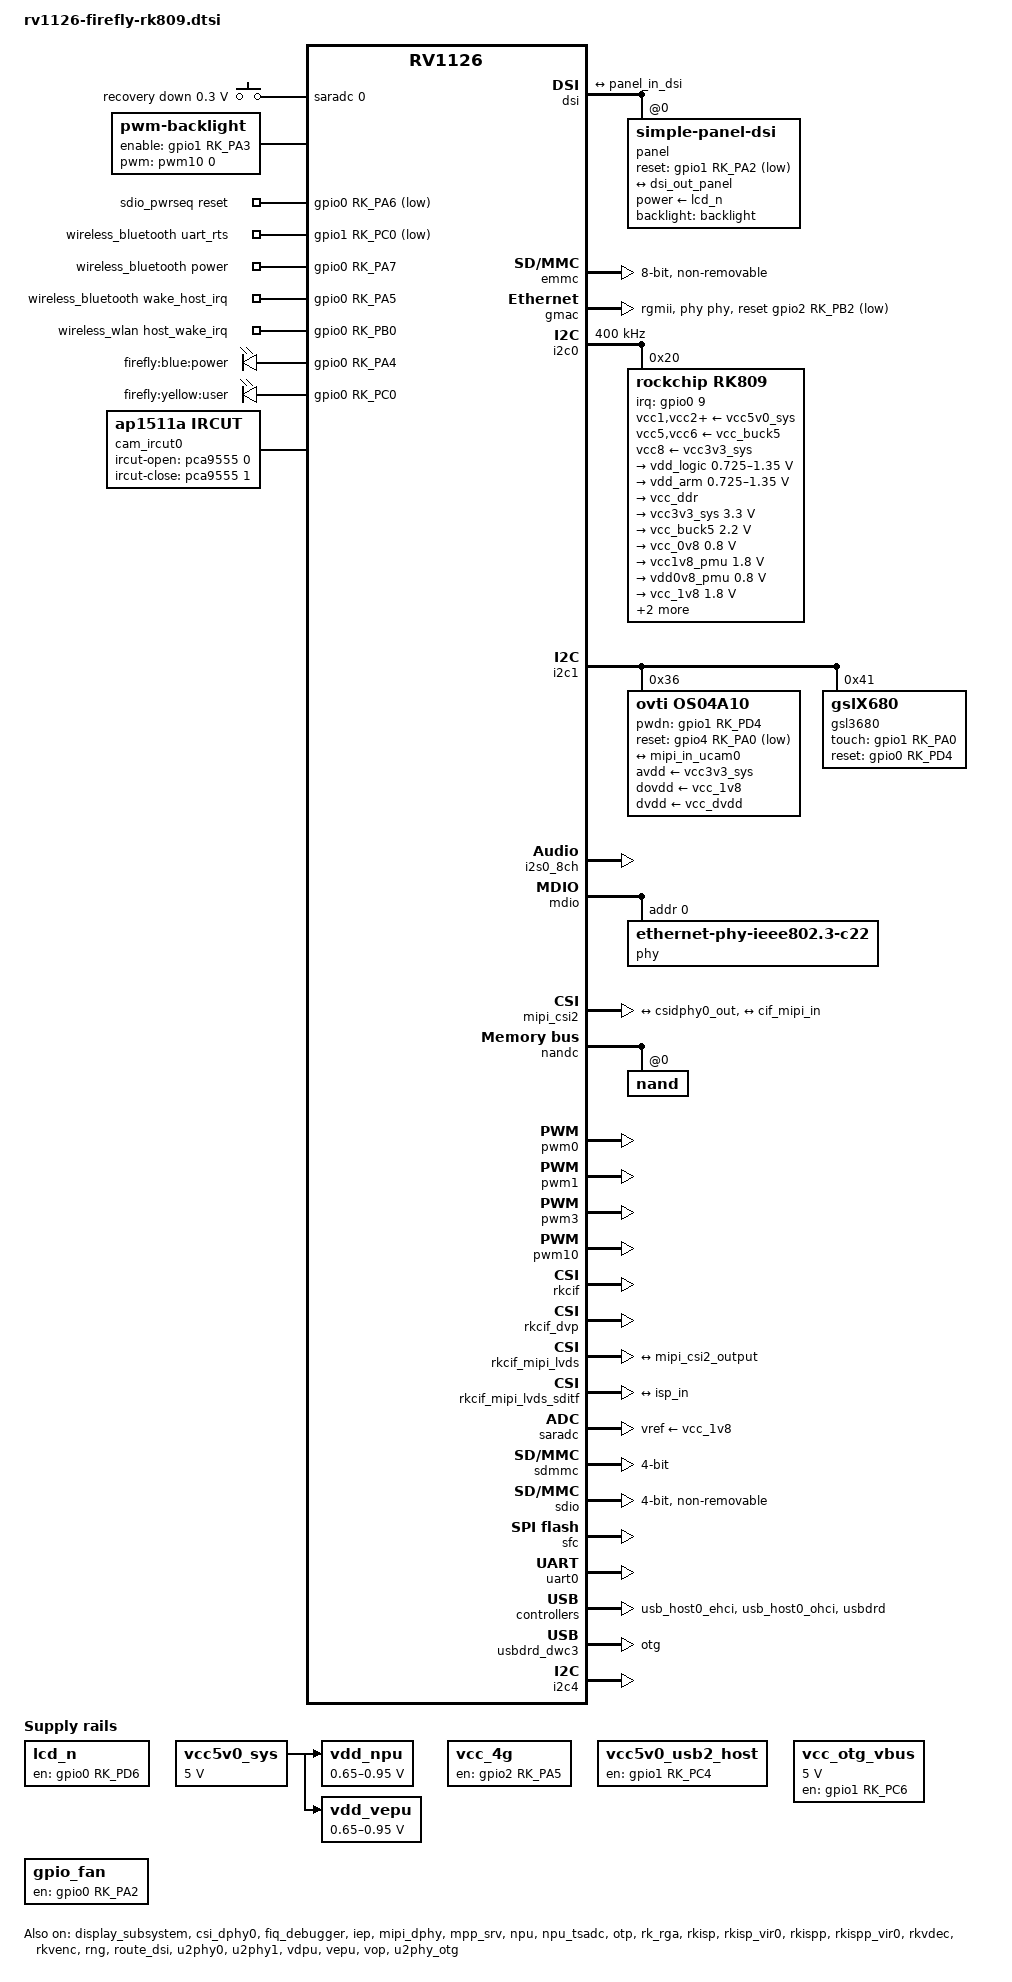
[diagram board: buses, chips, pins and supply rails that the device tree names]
// SPDX-License-Identifier: (GPL-2.0+ OR MIT)
/*
 * Copyright (c) 2019 Fuzhou Rockchip Electronics Co., Ltd.
 */

#include <dt-bindings/display/drm_mipi_dsi.h>
#include <dt-bindings/input/input.h>
#include "rv1126.dtsi"
#include <dt-bindings/display/media-bus-format.h>

/ {
	adc_keys: adc-keys {
		status = "okay";
		compatible = "adc-keys";
		io-channels = <&saradc 0>;
		io-channel-names = "buttons";
		poll-interval = <100>;
		keyup-threshold-microvolt = <1800000>;

		recovery {
                        label = "recovery down";
			linux,code = <KEY_KP9>;
                        press-threshold-microvolt = <300000>;
                };
	};
	
	lcd_n: lcd-n {
                compatible = "regulator-fixed";
                gpio = <&gpio0 RK_PD6 GPIO_ACTIVE_HIGH>;
                pinctrl-0 = <&lcd_ctl>;
                pinctrl-names = "default";
                regulator-name = "lcd_n";
                enable-active-high;
                regulator-always-on;
        };

        backlight: backlight {
                status = "okay";
                compatible = "pwm-backlight";
                enable-gpios = <&gpio1 RK_PA3 GPIO_ACTIVE_HIGH>;
                pinctrl-0 = <&bl_ctl>;
                pinctrl-names = "default";
                pwms = <&pwm10 0 50000 1>;
                polarity = <1>;
                brightness-levels = <
                          0   1   2   3   4   5   6   7
                          8   9  10  11  12  13  14  15
                         16  17  18  19  20  21  22  23
                         24  25  26  27  28  29  30  31
                         32  33  34  35  36  37  38  39
                         40  41  42  43  44  45  46  47
                         48  49  50  51  52  53  54  55
                         56  57  58  59  60  61  62  63
                         64  65  66  67  68  69  70  71
                         72  73  74  75  76  77  78  79
                         80  81  82  83  84  85  86  87
                         88  89  90  91  92  93  94  95
                         96  97  98  99 100 101 102 103
                        104 105 106 107 108 109 110 111
                        112 113 114 115 116 117 118 119
                        120 121 122 123 124 125 126 127
                        128 129 130 131 132 133 134 135
                        136 137 138 139 140 141 142 143
                        144 145 146 147 148 149 150 151
                        152 153 154 155 156 157 158 159
                        160 161 162 163 164 165 166 167
                        168 169 170 171 172 173 174 175
                        176 177 178 179 180 181 182 183
                        184 185 186 187 188 189 190 191
                        192 193 194 195 196 197 198 199
                        200 201 202 203 204 205 206 207
                        208 209 210 211 212 213 214 215
                        216 217 218 219 220 221 222 223
                        224 225 226 227 228 229 230 231
                        232 233 234 235 236 237 238 239
                        240 241 242 243 244 245 246 247
                        248 249 250 251 252 253 254 255>;
                default-brightness-level = <200>;
        };

	rk809_sound: rk809-sound {
		compatible = "simple-audio-card";
		simple-audio-card,format = "i2s";
		simple-audio-card,name = "rockchip,rk809-codec";
		simple-audio-card,mclk-fs = <256>;
		simple-audio-card,widgets =
			"Microphone", "Mic Jack",
			"Headphone", "Headphone Jack";
		simple-audio-card,routing =
			"Mic Jack", "MICBIAS1",
			"IN1P", "Mic Jack",
			"Headphone Jack", "HPOL",
			"Headphone Jack", "HPOR";
		simple-audio-card,cpu {
			sound-dai = <&i2s0_8ch>;
		};
		simple-audio-card,codec {
			sound-dai = <&rk809_codec>;
		};
	};

	sdio_pwrseq: sdio-pwrseq {
		compatible = "mmc-pwrseq-simple";
		pinctrl-names = "default";
		pinctrl-0 = <&wifi_enable_h>;

		/*
		 * On the module itself this is one of these (depending
		 * on the actual card populated):
		 * - SDIO_RESET_L_WL_REG_ON
		 * - PDN (power down when low)
		 */
		reset-gpios = <&gpio0 RK_PA6 GPIO_ACTIVE_LOW>;
	};

	vcc5v0_sys: vccsys {
		compatible = "regulator-fixed";
		regulator-name = "vcc5v0_sys";
		regulator-always-on;
		regulator-boot-on;
		regulator-min-microvolt = <5000000>;
		regulator-max-microvolt = <5000000>;
	};

	vdd_npu: vdd-npu {
		compatible = "pwm-regulator";
		pwms = <&pwm0 0 5000 1>;
		regulator-name = "vdd_npu";
		regulator-min-microvolt = <650000>;
		regulator-max-microvolt = <950000>;
		regulator-init-microvolt = <800000>;
		regulator-always-on;
		regulator-boot-on;
		regulator-settling-time-up-us = <250>;
		pwm-supply = <&vcc5v0_sys>;
		status = "okay";
	};

	vdd_vepu: vdd-vepu {
		compatible = "pwm-regulator";
		pwms = <&pwm1 0 5000 1>;
		regulator-name = "vdd_vepu";
		regulator-min-microvolt = <650000>;
		regulator-max-microvolt = <950000>;
		regulator-init-microvolt = <800000>;
		regulator-always-on;
		regulator-boot-on;
		regulator-settling-time-up-us = <250>;
		pwm-supply = <&vcc5v0_sys>;
		status = "okay";
	};

	wireless_bluetooth: wireless-bluetooth {
		compatible = "bluetooth-platdata";
		uart_rts_gpios = <&gpio1 RK_PC0 GPIO_ACTIVE_LOW>;
		pinctrl-names = "default", "rts_gpio";
                pinctrl-0 = <&uart0_rtsn>;
                pinctrl-1 = <&uart0_rtsn_gpio>;
		BT,power_gpio    = <&gpio0 RK_PA7 GPIO_ACTIVE_HIGH>;
		BT,wake_host_irq = <&gpio0 RK_PA5 GPIO_ACTIVE_HIGH>;
		status = "okay";
	};

	wireless_wlan: wireless-wlan {
		compatible = "wlan-platdata";
		rockchip,grf = <&grf>;
		clocks = <&rk809 1>;
		clock-names = "clk_wifi";
		//pinctrl-names = "default";
		//pinctrl-0 = <&wifi_wake_host>;
		wifi_chip_type = "ap6236";
		//WIFI,poweren_gpio = <&gpio0 RK_PA6 GPIO_ACTIVE_HIGH>; 
		WIFI,host_wake_irq = <&gpio0 RK_PB0 GPIO_ACTIVE_HIGH>;
		status = "okay";
	};

	leds: leds {
        	compatible = "gpio-leds";
        	work {
        		label = "firefly:blue:power";
        		linux,default-trigger = "ir-power-click";
        		gpios = <&gpio0 RK_PA4 GPIO_ACTIVE_HIGH>;
        		pinctrl-names = "default";
        		pinctrl-0 = <&led_power>;
        		default-state = "on";
        	};

        	user {
        		label = "firefly:yellow:user";
        		linux,default-trigger = "ir-user-click";
        		gpios = <&gpio0 RK_PC0 GPIO_ACTIVE_HIGH>;
        		pinctrl-names = "default";
        		pinctrl-0 = <&led_user>;
        		default-state = "on";
		};
        };

        vcc_4g: vcc-4g { 
		compatible = "regulator-fixed";
                regulator-always-on;
                enable-active-high;
                gpio = <&gpio2 RK_PA5 GPIO_ACTIVE_HIGH>;
                pinctrl-names = "default";
                pinctrl-0 = <&vcc_4g_h>;
                regulator-name = "vcc_4g";

        };
        vcc5v0_usb2_host: vcc5v0-usb2-host-regulator {
		compatible = "regulator-fixed";
		enable-active-high;
		gpio = <&gpio1 RK_PC4 GPIO_ACTIVE_HIGH>;
		pinctrl-names = "default";
		pinctrl-0 = <&host_vbus_drv>;
		regulator-name = "vcc5v0_usb2_host";
		regulator-always-on;
	};
	vcc_otg_vbus: otg-vbus-regulator {
		compatible = "regulator-fixed";
		gpio = <&gpio1 RK_PC6 GPIO_ACTIVE_HIGH>;
		pinctrl-names = "default";
		pinctrl-0 = <&otg_vbus_drv>;
		regulator-name = "vcc_otg_vbus";
		regulator-min-microvolt = <5000000>;
		regulator-max-microvolt = <5000000>;
		enable-active-high;
		regulator-always-on;
	};
	gpio_fan: gpio-fan {
		compatible = "regulator-fixed";
                regulator-always-on;
                enable-active-high;
                gpio = <&gpio0 RK_PA2 GPIO_ACTIVE_HIGH>;
                pinctrl-names = "default";
                pinctrl-0 = <&fan_pins>;
                regulator-name = "gpio_fan";
        };
	cam_ircut0: cam_ircut {
		status = "okay";
		compatible = "ap1511a,ircut";
		ircut-open-gpios  = <&pca9555 0 GPIO_ACTIVE_HIGH>; //PWM9_M1  BIN
		ircut-close-gpios  = <&pca9555 1 GPIO_ACTIVE_HIGH>;//PWM8_M1  AIN

		rockchip,camera-module-index = <1>;
		rockchip,camera-module-facing = "front";
	};
};

&cpu0 {
	cpu-supply = <&vdd_arm>;
};

&cpu_tsadc {
	status = "okay";
};

&display_subsystem {
	status = "okay";
};

&dsi {

	status = "okay";

        rockchip,lane-rate = <500>;
        panel@0 {
                compatible = "simple-panel-dsi";

                reg = <0>;
                backlight = <&backlight>;
                power-supply = <&lcd_n>;
                reset-gpios = <&gpio1 RK_PA2 GPIO_ACTIVE_LOW>;

                dsi,flags = <(MIPI_DSI_MODE_VIDEO_BURST | MIPI_DSI_MODE_VIDEO |
                                MIPI_DSI_MODE_LPM )>;
                dsi,format = <MIPI_DSI_FMT_RGB888>;
                bus-format = <MEDIA_BUS_FMT_RGB666_1X18>;
                dsi,lanes = <4>;

                prepare-delay-ms = <120>;
                reset-delay-ms = <120>;
                init-delay-ms = <120>;
                enable-delay-ms = <120>;
                unprepare-delay-ms = <120>;
                disable-delay-ms = <120>;

                size,width = <120>;
                size,height = <170>;

		width-mm = <135>;
                height-mm = <217>;

                status = "okay";

		panel-init-sequence = [
                        15 00 02 E0 00
                                15 00 02 E1 93
                                15 00 02 E2 65
                                15 00 02 E3 F8

                                15 00 02 E0 04
                                15 00 02 2D 03

                                15 00 02 E0 00
                                15 00 02 80 03


                                15 00 02 E0 01
                                15 00 02 00 00

                                15 00 02 E0 01
                                15 00 02 4B 04

                                15 00 02 00 00
                                15 00 02 01 66

                                15 00 02 17 00

                                15 00 02 18 AF
                                15 00 02 19 01
                                15 00 02 1A 00
                                15 00 02 1B AF

                                15 00 02 1C 01
                                15 00 02 1F 3E

                                15 00 02 20 28
                                15 00 02 21 28
                                15 00 02 22 7E
                                15 00 02 35 05

                                15 00 02 37 09

                                15 00 02 38 04
                                15 00 02 39 00
                                15 00 02 3A 01
                                15 00 02 3C 76
                                15 00 02 3D FF
                                15 00 02 3E FF
                                15 00 02 3F 7F

                                15 00 02 40 06
                                15 00 02 41 A0
                                15 00 02 42 81
                                15 00 02 43 08
                                15 00 02 44 0B
				15 00 02 45 28

                                15 00 02 55 0F
                                15 00 02 56 01
                                15 00 02 57 69
                                15 00 02 58 0A
                                15 00 02 59 0A
                                15 00 02 5A 29
                                15 00 02 5B 15

                                15 00 02 5D 7C
                                15 00 02 5E 66
                                15 00 02 5F 57
                                15 00 02 60 4A
                                15 00 02 61 46
                                15 00 02 62 36
                                15 00 02 63 3A
                                15 00 02 64 23
                                15 00 02 65 3A
                                15 00 02 66 38
                                15 00 02 67 38
                                15 00 02 68 55
                                15 00 02 69 43
                                15 00 02 6A 4A
                                15 00 02 6B 3B
                                15 00 02 6C 36
                                15 00 02 6D 28
                                15 00 02 6E 15
                                15 00 02 6F 00
                                15 00 02 70 7C
                                15 00 02 71 66
                                15 00 02 72 57
                                15 00 02 73 4A
                                15 00 02 74 46

                                15 00 02 75 36
                                15 00 02 76 3A
                                15 00 02 77 23
                                15 00 02 78 3A
                                15 00 02 79 38
                                15 00 02 7A 38
                                15 00 02 7B 55
                                15 00 02 7C 43
                                15 00 02 7D 4A
                                15 00 02 7E 3B
                                15 00 02 7F 36
                                15 00 02 80 28
                                15 00 02 81 15
                                15 00 02 82 00

                                15 00 02 E0 02
				
                                15 00 02 00 1E
                                15 00 02 01 1E
                                15 00 02 02 41
                                15 00 02 03 41
                                15 00 02 04 43
                                15 00 02 05 43
                                15 00 02 06 1F
                                15 00 02 07 1F
                                15 00 02 08 35
                                15 00 02 09 1F
                                15 00 02 0A 15
                                15 00 02 0B 15
                                15 00 02 0C 1F
                                15 00 02 0D 47
                                15 00 02 0E 47
                                15 00 02 0F 45
                                15 00 02 10 45
                                15 00 02 11 4B
                                15 00 02 12 4B
                                15 00 02 13 49
                                15 00 02 14 49
                                15 00 02 15 1F

                                15 00 02 16 1E
                                15 00 02 17 1E
                                15 00 02 18 40
                                15 00 02 19 40
                                15 00 02 1A 42
                                15 00 02 1B 42
                                15 00 02 1C 1F
                                15 00 02 1D 1F
                                15 00 02 1E 35
                                15 00 02 1F 1F
                                15 00 02 20 15
                                15 00 02 21 15
                                15 00 02 22 1F
                                15 00 02 23 46
                                15 00 02 24 46
                                15 00 02 25 44
                                15 00 02 26 44
                                15 00 02 27 4A
                                15 00 02 28 4A
                                15 00 02 29 48
                                15 00 02 2A 48
                                15 00 02 2B 1F

                                15 00 02 2C 1F
                                15 00 02 2D 1F
                                15 00 02 2E 42
                                15 00 02 2F 42


                                15 00 02 30 40
                                15 00 02 31 40
                                15 00 02 32 1E
                                15 00 02 33 1E
                                15 00 02 34 1F
                                15 00 02 35 1F
                                15 00 02 36 1E
                                15 00 02 37 1E
                                15 00 02 38 1F
                                15 00 02 39 48
                                15 00 02 3A 48
                                15 00 02 3B 4A
                                15 00 02 3C 4A
                                15 00 02 3D 44
                                15 00 02 3E 44
                                15 00 02 3F 46
                                15 00 02 40 46
                                15 00 02 41 1F

                                15 00 02 42 1F
                                15 00 02 43 1F
                                15 00 02 44 43
                                15 00 02 45 43
                                15 00 02 46 41
                                15 00 02 47 41
                                15 00 02 48 1E
                                15 00 02 49 1E
                                15 00 02 4A 1E
                                15 00 02 4B 1F
                                15 00 02 4C 1E
                                15 00 02 4D 1E
                                15 00 02 4E 1F
                                15 00 02 4F 49
                                15 00 02 50 49
                                15 00 02 51 4B
                                15 00 02 52 4B
                                15 00 02 53 45
                                15 00 02 54 45
                                15 00 02 55 47
                                15 00 02 56 47
                                15 00 02 57 1F

                                15 00 02 58 40
                                15 00 02 59 00
                                15 00 02 5A 00
                                15 00 02 5B 30
                                15 00 02 5C 03
                                15 00 02 5D 30
                                15 00 02 5E 01
                                15 00 02 5F 02
                                15 00 02 60 30

                                15 00 02 61 01
                                15 00 02 62 02
                                15 00 02 63 14
                                15 00 02 64 6A
                                15 00 02 65 05
                                15 00 02 66 12
                                15 00 02 67 73
                                15 00 02 68 05
                                15 00 02 69 14
                                15 00 02 6A 6A
                                15 00 02 6B 08
                                15 00 02 6C 00
                                15 00 02 6D 00
                                15 00 02 6E 00
                                15 00 02 6F 88
                                15 00 02 70 00
                                15 00 02 71 00
                                15 00 02 72 06
                                15 00 02 73 7B
                                15 00 02 74 00
                                15 00 02 75 07
                                15 00 02 76 00
                                15 00 02 77 DD
                                15 00 02 78 17
                                15 00 02 79 0E
                                15 00 02 7A 03
                                15 00 02 7B 00
                                15 00 02 7C 00
                                15 00 02 7D 14
                                15 00 02 7E 6A

                                15 00 02 E0 04
                                15 00 02 2B 2B
                                15 00 02 2E 44
                                15 00 02 09 11
                                15 00 02 2D 03
                                15 00 02 0E 48

                                15 00 02 E0 00
                                15 00 02 E6 02
                                15 00 02 E7 02

                                05 78 01 11
                                05 05 01 29
                                15 00 02 35 00
                ];

                panel-exit-sequence = [
                                05 05 01 28
                                05 78 01 10
                ];
                display-timings {
                        native-mode = <&timing0>;
                        timing0: timing0 {
                                clock-frequency = <70000000>;//<80000000>;
                                hactive = <800>;//<768>;
                                vactive = <1280>;
                                hsync-len = <10>;   //20, 50,10
                                hback-porch = <10>; //50, 56,10
                                hfront-porch = <180>;//50, 30,180
                                vsync-len = <4>;//4
                                vback-porch = <4>;//4
                                vfront-porch = <8>;//8
                                hsync-active = <0>;
                                vsync-active = <0>;
                                de-active = <0>;
                                pixelclk-active = <0>;
                        };
                };

                ports {
                        #address-cells = <1>;
                        #size-cells = <0>;

                        port@0 {
                                reg = <0>;
                                panel_in_dsi: endpoint {
                                        remote-endpoint = <&dsi_out_panel>;
                                };
                        };
                };
	};

        ports {
                #address-cells = <1>;
                #size-cells = <0>;

                port@1 {
                        reg = <1>;
                        dsi_out_panel: endpoint {
                                remote-endpoint = <&panel_in_dsi>;
                        };
                };
        };

};

&csi_dphy0 {
	status = "okay";

	ports {
		#address-cells = <1>;
		#size-cells = <0>;
		port@0 {
			reg = <0>;
			#address-cells = <1>;
			#size-cells = <0>;

			mipi_in_ucam0: endpoint@1 {
				reg = <1>;
				remote-endpoint = <&ucam_out0>;
				data-lanes = <1 2 3 4>;
			};
		};
		port@1 {
			reg = <1>;
			#address-cells = <1>;
			#size-cells = <0>;

			csidphy0_out: endpoint@0 {
				reg = <0>;
				remote-endpoint = <&mipi_csi2_input>;
			};

		};
	};
};

&csi_dphy1 {
	status = "disabled";
};

&emmc {
	bus-width = <8>;
	cap-mmc-highspeed;
	non-removable;
	mmc-hs200-1_8v;
	rockchip,default-sample-phase = <90>;
	supports-emmc;
	/delete-property/ pinctrl-names;
	/delete-property/ pinctrl-0;
	status = "okay";
};

&fiq_debugger {
	status = "okay";
};

&gmac {
	phy-mode = "rgmii";
	clock_in_out = "output";
	
	snps,reset-gpio = <&gpio2 RK_PB2 GPIO_ACTIVE_LOW>;
	snps,reset-active-low;
	/* Reset time is 20ms, 100ms for rtl8211f */
	snps,reset-delays-us = <0 20000 100000>;

	assigned-clocks = <&cru CLK_GMAC_SRC>, <&cru CLK_GMAC_TX_RX>, <&cru CLK_GMAC_ETHERNET_OUT>;
	assigned-clock-parents = <&cru CLK_GMAC_SRC_M1>, <&cru RGMII_MODE_CLK>;//核心板和底板使用这个
	//assigned-clock-parents = <&cru CLK_GMAC_SRC_M0>, <&cru RGMII_MODE_CLK>;//集群服务器R1使用这个
	assigned-clock-rates = <125000000>, <0>, <25000000>;

	pinctrl-names = "default";
	pinctrl-0 = <&rgmiim1_pins &clk_out_ethernetm1_pins>;//核心板和底板使用这个
	//pinctrl-0 = <&rgmiim0_pins &clk_out_ethernetm0_pins>;//集群服务器R1使用这个

	tx_delay = <0x2a>;
	rx_delay = <0x1a>;

	phy-handle = <&phy>;
	status = "okay";
};

&i2c0 {
	status = "okay";
	clock-frequency = <400000>;

	rk809: pmic@20 {
		compatible = "rockchip,rk809";
		reg = <0x20>;
		interrupt-parent = <&gpio0>;
		interrupts = <9 IRQ_TYPE_LEVEL_LOW>;
		pinctrl-names = "default", "pmic-sleep",
			"pmic-power-off", "pmic-reset";
		pinctrl-0 = <&pmic_int>;
		pinctrl-1 = <&soc_slppin_gpio>, <&rk817_slppin_slp>;
		pinctrl-2 = <&soc_slppin_gpio>, <&rk817_slppin_pwrdn>;
		pinctrl-3 = <&soc_slppin_slp>, <&rk817_slppin_rst>;
		rockchip,system-power-controller;
		wakeup-source;
		#clock-cells = <1>;
		clock-output-names = "rk808-clkout1", "rk808-clkout2";
		/* 0: rst the pmic, 1: rst regs (default in codes) */
		pmic-reset-func = <0>;

		vcc1-supply = <&vcc5v0_sys>;
		vcc2-supply = <&vcc5v0_sys>;
		vcc3-supply = <&vcc5v0_sys>;
		vcc4-supply = <&vcc5v0_sys>;
		vcc5-supply = <&vcc_buck5>;
		vcc6-supply = <&vcc_buck5>;
		vcc7-supply = <&vcc5v0_sys>;
		vcc8-supply = <&vcc3v3_sys>;
		vcc9-supply = <&vcc5v0_sys>;

		pwrkey {
			status = "okay";
		};

		pinctrl_rk8xx: pinctrl_rk8xx {
			gpio-controller;
			#gpio-cells = <2>;

			/omit-if-no-ref/
			rk817_slppin_null: rk817_slppin_null {
				pins = "gpio_slp";
				function = "pin_fun0";
			};

			/omit-if-no-ref/
			rk817_slppin_slp: rk817_slppin_slp {
				pins = "gpio_slp";
				function = "pin_fun1";
			};

			/omit-if-no-ref/
			rk817_slppin_pwrdn: rk817_slppin_pwrdn {
				pins = "gpio_slp";
				function = "pin_fun2";
			};

			/omit-if-no-ref/
			rk817_slppin_rst: rk817_slppin_rst {
				pins = "gpio_slp";
				function = "pin_fun3";
			};
		};

		regulators {
			vdd_logic: DCDC_REG1 {
				regulator-always-on;
				regulator-boot-on;
				regulator-min-microvolt = <725000>;
				regulator-max-microvolt = <1350000>;
				regulator-ramp-delay = <6001>;
				regulator-initial-mode = <0x2>;
				regulator-name = "vdd_logic";
				regulator-state-mem {
					regulator-on-in-suspend;
					regulator-suspend-microvolt = <800000>;
				};
			};

			vdd_arm: DCDC_REG2 {
				regulator-always-on;
				regulator-boot-on;
				regulator-min-microvolt = <725000>;
				regulator-max-microvolt = <1350000>;
				regulator-ramp-delay = <6001>;
				regulator-initial-mode = <0x2>;
				regulator-name = "vdd_arm";
				regulator-state-mem {
					regulator-off-in-suspend;
				};
			};

			vcc_ddr: DCDC_REG3 {
				regulator-always-on;
				regulator-boot-on;
				regulator-initial-mode = <0x2>;
				regulator-name = "vcc_ddr";
				regulator-state-mem {
					regulator-on-in-suspend;
				};
			};

			vcc3v3_sys: DCDC_REG4 {
				regulator-always-on;
				regulator-boot-on;
				regulator-min-microvolt = <3300000>;
				regulator-max-microvolt = <3300000>;
				regulator-initial-mode = <0x2>;
				regulator-name = "vcc3v3_sys";
				regulator-state-mem {
					regulator-on-in-suspend;
					regulator-suspend-microvolt = <3300000>;
				};
			};

			vcc_buck5: DCDC_REG5 {
				regulator-always-on;
				regulator-boot-on;
				regulator-min-microvolt = <2200000>;
				regulator-max-microvolt = <2200000>;
				regulator-name = "vcc_buck5";
				regulator-state-mem {
					regulator-on-in-suspend;
					regulator-suspend-microvolt = <2200000>;
				};
			};

			vcc_0v8: LDO_REG1 {
				regulator-always-on;
				regulator-boot-on;
				regulator-min-microvolt = <800000>;
				regulator-max-microvolt = <800000>;
				regulator-name = "vcc_0v8";
				regulator-state-mem {
					regulator-off-in-suspend;
				};
			};

			vcc1v8_pmu: LDO_REG2 {
				regulator-always-on;
				regulator-boot-on;
				regulator-min-microvolt = <1800000>;
				regulator-max-microvolt = <1800000>;
				regulator-name = "vcc1v8_pmu";
				regulator-state-mem {
					regulator-on-in-suspend;
					regulator-suspend-microvolt = <1800000>;
				};
			};

			vdd0v8_pmu: LDO_REG3 {
				regulator-always-on;
				regulator-boot-on;
				regulator-min-microvolt = <800000>;
				regulator-max-microvolt = <800000>;
				regulator-name = "vcc0v8_pmu";
				regulator-state-mem {
					regulator-on-in-suspend;
					regulator-suspend-microvolt = <800000>;
				};
			};

			vcc_1v8: LDO_REG4 {
				regulator-always-on;
				regulator-boot-on;
				regulator-min-microvolt = <1800000>;
				regulator-max-microvolt = <1800000>;
				regulator-name = "vcc_1v8";
				regulator-state-mem {
					regulator-on-in-suspend;
					regulator-suspend-microvolt = <1800000>;
				};
			};

			vcc_dovdd: LDO_REG5 {
				regulator-always-on;
				regulator-boot-on;
				regulator-min-microvolt = <1800000>;
				regulator-max-microvolt = <1800000>;
				regulator-name = "vcc_dovdd";
				regulator-state-mem {
					regulator-off-in-suspend;
				};
			};

			vcc_dvdd: LDO_REG6 {
				regulator-min-microvolt = <1200000>;
				regulator-max-microvolt = <1200000>;
				regulator-name = "vcc_dvdd";
				regulator-state-mem {
					regulator-off-in-suspend;
				};
			};

			vcc_avdd: LDO_REG7 {
				regulator-always-on;
				regulator-boot-on;
				regulator-min-microvolt = <2800000>;
				regulator-max-microvolt = <2800000>;
				regulator-name = "vcc_avdd";
				regulator-state-mem {
					regulator-off-in-suspend;
				};
			};

			vccio_sd: LDO_REG8 {
				regulator-always-on;
				regulator-boot-on;
				regulator-min-microvolt = <1800000>;
				regulator-max-microvolt = <3300000>;
				regulator-name = "vccio_sd";
				regulator-state-mem {
					regulator-off-in-suspend;
				};
			};

			vcc3v3_sd: LDO_REG9 {
				regulator-always-on;
				regulator-boot-on;
				regulator-min-microvolt = <3300000>;
				regulator-max-microvolt = <3300000>;
				regulator-name = "vcc3v3_sd";
				regulator-state-mem {
					regulator-off-in-suspend;
				};
			};

			vcc5v0_host: SWITCH_REG1 {
				regulator-name = "vcc5v0_host";
			};

			vcc_3v3: SWITCH_REG2 {
				regulator-always-on;
				regulator-boot-on;
				regulator-name = "vcc_3v3";
			};
		};

		rk809_codec: codec {
			#sound-dai-cells = <0>;
			compatible = "rockchip,rk809-codec", "rockchip,rk817-codec";
			clocks = <&cru MCLK_I2S0_TX_OUT2IO>;
			clock-names = "mclk";
			pinctrl-names = "default";
			assigned-clocks = <&cru MCLK_I2S0_TX_OUT2IO>;
			assigned-clock-parents = <&cru MCLK_I2S0_TX>;
			pinctrl-0 = <&i2s0m0_mclk>;
			use-ext-amplifier;
			spk-ctl-gpios = <&gpio3 RK_PD6 GPIO_ACTIVE_HIGH>;
			hp-det = <&gpio1 RK_PC5 GPIO_ACTIVE_HIGH>;
			hp-ctl-gpios = <&gpio1 RK_PC7 GPIO_ACTIVE_HIGH>;
			pinctrl-1 = <&spk_ctl_gpio>;

			hp-volume = <0>;
			spk-volume = <0>;
			status = "okay";
		};
	};
};

&i2c1 {
	status = "okay";

        os04a10: os04a10@36 {
                compatible = "ovti,os04a10";
                reg = <0x36>;
                clocks = <&cru CLK_MIPICSI_OUT>;
                clock-names = "xvclk";
                power-domains = <&power RV1126_PD_VI>;
                pinctrl-names = "rockchip,camera_default";
                pinctrl-0 = <&mipicsi_clk0>;
                avdd-supply = <&vcc3v3_sys>;
                dovdd-supply = <&vcc_1v8>;
                dvdd-supply = <&vcc_dvdd>;
                pwdn-gpios = <&gpio1 RK_PD4 GPIO_ACTIVE_HIGH>;
                reset-gpios = <&gpio4 RK_PA0 GPIO_ACTIVE_LOW>;
                rockchip,camera-module-index = <1>;
                rockchip,camera-module-facing = "front";
                rockchip,camera-module-name = "CMK-OT1607-FV1";
                rockchip,camera-module-lens-name = "M12-40IRC-4MP-F16";
				ir-cut = <&cam_ircut0>;

                port {
                        ucam_out0: endpoint {
                                remote-endpoint = <&mipi_in_ucam0>;
                                data-lanes = <1 2 3 4>;
                        };
                };
        };

	gsl3680: gsl3680@40 {
             	status = "okay";
              	compatible = "gslX680";
              	reg = <0x41>;
		screen_max_x = <1280>;
		screen_max_y = <800>;
              	touch-gpio = <&gpio1 RK_PA0 IRQ_TYPE_EDGE_RISING>;
              	reset-gpio = <&gpio0 RK_PD4 GPIO_ACTIVE_HIGH>;

              	flip-x = <0>;
              	flip-y = <0>;
              	swap-xy = <1>;
              	gsl,fw = <1>;
     	};

};

&i2c5 {
	status = "disabled";
};

&i2s0_8ch {
	status = "okay";
	#sound-dai-cells = <0>;
	rockchip,clk-trcm = <1>;
	rockchip,i2s-rx-route = <3 1 2 0>;
	pinctrl-names = "default";
	pinctrl-0 = <&i2s0m0_sclk_tx
		     &i2s0m0_lrck_tx
		     &i2s0m0_sdo0
		     &i2s0m0_sdo1_sdi3>;
};

&iep {
	status = "okay";
};

&iep_mmu {
	status = "okay";
};

&mdio {
	phy: phy@0 {
		compatible = "ethernet-phy-ieee802.3-c22";
		reg = <0x0>;
		clocks = <&cru CLK_GMAC_ETHERNET_OUT>;
	};
};

&mipi_csi2 {
	status = "okay";

	ports {
		#address-cells = <1>;
		#size-cells = <0>;

		port@0 {
			reg = <0>;
			#address-cells = <1>;
			#size-cells = <0>;

			mipi_csi2_input: endpoint@1 {
				reg = <1>;
				remote-endpoint = <&csidphy0_out>;
				data-lanes = <1 2 3 4>;
			};
		};

		port@1 {
			reg = <1>;
			#address-cells = <1>;
			#size-cells = <0>;

			mipi_csi2_output: endpoint@0 {
				reg = <0>;
				remote-endpoint = <&cif_mipi_in>;
				data-lanes = <1 2 3 4>;
			};
		};
	};
};

&mipi_dphy {
	status = "okay";
};

&mpp_srv {
	status = "okay";
};

&nandc {
	/delete-property/ pinctrl-names;
	/delete-property/ pinctrl-0;
	#address-cells = <1>;
	#size-cells = <0>;

	nand@0 {
		reg = <0>;
		nand-bus-width = <8>;
		nand-ecc-mode = "hw";
		nand-ecc-strength = <16>;
		nand-ecc-step-size = <1024>;
	};
};

&npu {
	npu-supply = <&vdd_npu>;
	status = "okay";
};

&npu_tsadc {
	status = "okay";
};

&optee {
	status = "disabled";
};

&otp {
	status = "okay";
};

&pinctrl {
	pmic {
		/omit-if-no-ref/
		pmic_int: pmic_int {
			rockchip,pins =
				<0 RK_PB1 RK_FUNC_GPIO &pcfg_pull_up>;
		};

		/omit-if-no-ref/
		soc_slppin_gpio: soc_slppin_gpio {
			rockchip,pins =
				<0 RK_PB2 RK_FUNC_GPIO &pcfg_output_low>;
		};

		/omit-if-no-ref/
		soc_slppin_slp: soc_slppin_slp {
			rockchip,pins =
				<0 RK_PB2 RK_FUNC_1 &pcfg_pull_none>;
		};

		/omit-if-no-ref/
		soc_slppin_rst: soc_slppin_rst {
			rockchip,pins =
				<0 RK_PB2 RK_FUNC_2 &pcfg_pull_none>;
		};
	};

	sdio-pwrseq {
		/omit-if-no-ref/
		wifi_enable_h: wifi-enable-h {
			//rockchip,pins = <0 RK_PA6 RK_FUNC_GPIO &pcfg_pull_up>;
			rockchip,pins = <0 RK_PA6 RK_FUNC_GPIO &pcfg_pull_none>;
		};
	};

	wireless-wlan {
		/omit-if-no-ref/
		wifi_wake_host: wifi-wake-host {
			rockchip,pins = <0 RK_PB0 0 &pcfg_pull_up>;
		};
	};
	leds {
        	led_power: led-power {
                	rockchip,pins = <0 RK_PA4 RK_FUNC_GPIO &pcfg_pull_none>;
        	};

        	led_user: led-user {
        		rockchip,pins = <0 RK_PC0 RK_FUNC_GPIO &pcfg_pull_none>;
            	};
    	};

	vcc_4g {
                vcc_4g_h: vcc-4g-h {
                        rockchip,pins = <2 RK_PA5 RK_FUNC_GPIO &pcfg_pull_up>;
                };
        };
/*
	headphone {
                hp_det: hp-det {
                        rockchip,pins = <1 RK_PC5 RK_FUNC_GPIO &pcfg_pull_up>;
                };
        };
*/
	csi_ctl {
                bl_ctl: bl-ctl {
                        rockchip,pins =
                                <1 RK_PA3 RK_FUNC_GPIO &pcfg_pull_up>;
                };

                lcd_ctl: lcd-ctl {
                        rockchip,pins =
                                <0 RK_PD6 RK_FUNC_GPIO &pcfg_pull_up>;
                };

		lcd_rst: lcd-rst {
                        rockchip,pins =
                                <1 RK_PA2 RK_FUNC_GPIO &pcfg_pull_up_drv_level_3>;
                };


		tp_ctl: tp-ctl {
                        rockchip,pins =
                                <0 RK_PD4 RK_FUNC_GPIO &pcfg_pull_up>;
                };

		tp_irq: tp-irq {
                        rockchip,pins =
                                <1 RK_PA0 RK_FUNC_GPIO &pcfg_pull_up>;
                };


        };
	usb2 {
                otg_vbus_drv: otg-vbus-drv {
                        rockchip,pins = <1 RK_PC6 0 &pcfg_pull_none>;
                };

                host_vbus_drv:host-vbus-drv {
                        rockchip,pins = <1 RK_PC4 0 &pcfg_pull_none>;
                };
        };
	gpio_fan {
		fan_pins: fan-pins {
                        rockchip,pins = <0 RK_PA2 RK_FUNC_GPIO &pcfg_pull_up>;
        	};
	};
        wdt-pin {
                wdt_pwr_pin: wdt-pwr-pin {
                       rockchip,pins = <RK_GPIO1 RK_PB1 RK_FUNC_GPIO &pcfg_pull_up>;
                };

                wdt_ctl: wdt-ctl {
                       rockchip,pins = <RK_GPIO1 RK_PA2 RK_FUNC_GPIO &pcfg_pull_up>;
                };

        };
		rk809 {
				spk_ctl_gpio: spk_ctl_gpio {
					rockchip,pins = <3 RK_PD6 RK_FUNC_GPIO &pcfg_pull_up>;
                };
        };
};

&pmu_io_domains {
	status = "okay";

	pmuio0-supply = <&vcc1v8_pmu>;
	pmuio1-supply = <&vcc3v3_sys>;
	vccio2-supply = <&vccio_sd>;
	vccio3-supply = <&vcc_1v8>;
	vccio4-supply = <&vcc_1v8>;
	vccio5-supply = <&vcc_3v3>;
	vccio6-supply = <&vcc_3v3>;
	vccio7-supply = <&vcc_1v8>;
};

&pwm0 {
	status = "okay";
	pinctrl-names = "active";
	pinctrl-0 = <&pwm0m0_pins_pull_down>;
};

&pwm1 {
	status = "okay";
	pinctrl-names = "active";
	pinctrl-0 = <&pwm1m0_pins_pull_down>;
};

&pwm3 {
	status = "okay";
};

&pwm10 {
        status = "okay";
        pinctrl-names = "active";
        pinctrl-0 = <&pwm10m0_pins>;

};

&ramoops {
	status = "okay";
};

&rk_rga {
	status = "okay";
};

&rkcif {
	status = "okay";
};

&rkcif_mmu {
	status = "disabled";
};

&rkcif_dvp {
	status = "okay";

	port {
		/* Parallel bus endpoint */
		/*
		cif_para_in: endpoint {
			remote-endpoint = <&cam_para_out1>;
			bus-width = <12>;
			hsync-active = <1>;
			vsync-active = <0>;
		};
		*/
	};
};

&rkcif_mipi_lvds {
	status = "okay";

	port {
		/* MIPI CSI-2 endpoint */
		cif_mipi_in: endpoint {
			remote-endpoint = <&mipi_csi2_output>;
			data-lanes = <1 2 3 4>;
		};
	};
};

&rkcif_mipi_lvds_sditf {
	status = "okay";

	port {
		/* MIPI CSI-2 endpoint */
		mipi_lvds_sditf: endpoint {
			remote-endpoint = <&isp_in>;
			data-lanes = <1 2 3 4>;
		};
	};
};

&rkisp {
	status = "okay";
};

&rkisp_vir0 {
	status = "okay";

	ports {
		port@0 {
			reg = <0>;
			#address-cells = <1>;
			#size-cells = <0>;

			isp_in: endpoint@0 {
				reg = <0>;
				remote-endpoint = <&mipi_lvds_sditf>;
			};
		};
	};
};

&rkisp_mmu {
	status = "disabled";
};

&rkispp {
	rockchip,restart-monitor-en;
	status = "okay";
	/* the max input w h and fps of mulit sensor */
	//max-input = <2688 1520 30>;
	//max-input = <1920 1080 30>;
};

&rkispp_vir0 {
	status = "okay";
};

&rkispp_mmu {
	status = "okay";
};

&rkvdec {
	status = "okay";
};

&rkvdec_mmu {
	status = "okay";
};

&rkvenc {
	venc-supply = <&vdd_vepu>;
	status = "okay";
};

&rkvenc_mmu {
	status = "okay";
};

&rng {
	status = "okay";
};

&rockchip_suspend {
	status = "okay";
	rockchip,sleep-debug-en = <1>;
	rockchip,sleep-mode-config = <
		(0
		| RKPM_SLP_ARMOFF
		| RKPM_SLP_PMU_PMUALIVE_32K
		| RKPM_SLP_PMU_DIS_OSC
		| RKPM_SLP_PMIC_LP
		)
	>;
	rockchip,wakeup-config = <
		(0
		| RKPM_GPIO_WKUP_EN
		)
	>;
};

&route_dsi {
	status = "okay";
};

&saradc {
	status = "okay";
	vref-supply = <&vcc_1v8>;
};

&sdmmc {
	bus-width = <4>;
	cap-mmc-highspeed;
	cap-sd-highspeed;
	card-detect-delay = <200>;
	rockchip,default-sample-phase = <90>;
	supports-sd;
	sd-uhs-sdr12;
	sd-uhs-sdr25;
	sd-uhs-sdr104;
	vqmmc-supply = <&vccio_sd>;
	status = "okay";

};

&sdio {

	clock-frequency = <150000000>;
        clock-freq-min-max = <200000 150000000>;
	//max-frequency = <200000000>;
	bus-width = <4>;
	cap-sd-highspeed;
	cap-sdio-irq;
	keep-power-in-suspend;
	non-removable;
	rockchip,default-sample-phase = <90>;
	sd-uhs-sdr104;
	supports-sdio;
	mmc-pwrseq = <&sdio_pwrseq>;
	status = "okay";
};

&sfc {
	/delete-property/ pinctrl-names;
	/delete-property/ pinctrl-0;
	status = "okay";
};

&u2phy0 {
	status = "okay";
	//vup-gpios = <&gpio0 RK_PC1 GPIO_ACTIVE_LOW>;
};

&u2phy1 {
	status = "okay";
	u2phy_host: host-port {
		status = "okay";
		phy-supply = <&vcc5v0_host>;
	};
};

&uart0 {
	pinctrl-names = "default";
	pinctrl-0 = <&uart0_xfer &uart0_ctsn>;
	status = "okay";
};

&usb_host0_ehci {
	status = "okay";
};

&usb_host0_ohci {
	status = "okay";
};

&usbdrd {
	status = "okay";
};

&usbdrd_dwc3 {
	status = "okay";
	dr_mode = "otg";
	firefly,force_set_dr_mode;
	extcon = <&u2phy0>;
};

&vdpu {
	status = "okay";
};

&vepu {
	status = "okay";
};

&vpu_mmu {
	status = "okay";
};

&vop {
	status = "okay";
};

&vop_mmu {
	status = "okay";
};
&i2c4 {
    status = "okay";
};
&u2phy_host {
        status = "okay";
        phy-supply = <&vcc5v0_usb2_host>;
};
&u2phy_otg {
        status = "okay";
        //dr_mode = "otg";
        vbus-supply = <&vcc_otg_vbus>;
};
